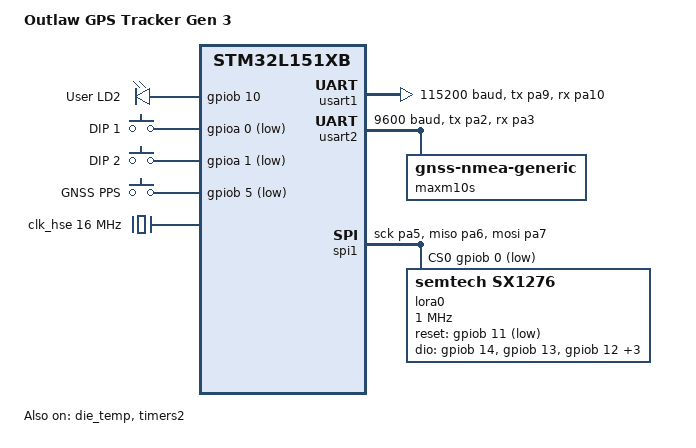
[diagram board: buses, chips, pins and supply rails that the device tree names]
/*
 * Copyright (c) 2024 Aaron Chan
 *
 * SPDX-License-Identifier: Apache-2.0
 */

/dts-v1/;
#include <st/l1/stm32l151Xb-a.dtsi>
#include <st/l1/stm32l151c(6-8-b)uxa-pinctrl.dtsi>
#include <zephyr/dt-bindings/input/input-event-codes.h>

/ {
	model = "Outlaw GPS Tracker Gen 3";
	compatible = "st,stm32l151xb";

	chosen {
		zephyr,console = &usart1;
		zephyr,shell-uart = &usart1;
		zephyr,sram = &sram0;
		zephyr,flash = &flash0;
	};

	leds: leds {
		compatible = "gpio-leds";

		led: led {
			gpios = <&gpiob 10 GPIO_ACTIVE_HIGH>;
			label = "User LD2";
		};
	};

	gpio_keys {
		compatible = "gpio-keys";

		dip1: dip1 {
			label = "DIP 1";
			gpios = <&gpioa 0 GPIO_ACTIVE_LOW>;
			zephyr,code = <INPUT_KEY_0>;
		};

		dip2: dip2 {
			label = "DIP 2";
			gpios = <&gpioa 1 GPIO_ACTIVE_LOW>;
			zephyr,code = <INPUT_KEY_0>;
		};

		pps: pps {
			label = "GNSS PPS";
			gpios = <&gpiob 5 GPIO_ACTIVE_LOW>;
			zephyr,code = <INPUT_KEY_0>;
		};
	};

	aliases {
		dbg-uart = &usart1;
		gnss-uart = &usart2;
		lora = &lora0;
		dip0 = &dip1;
		dip1 = &dip2;
		gnss = &maxm10s;
		led0 = &led;
		watchdog0 = &iwdg;
		die-temp0 = &die_temp;
		pps = &pps;
		tdma-timer = &tdma;
	};

};

&clk_lsi {
	status = "okay";
};

&clk_hsi {
	status = "okay";
};

&clk_hse {
	status = "okay";
	clock-frequency = <DT_FREQ_M(16)>;
};

&pll {
	div = <2>; // 3 for 16 or 8
	mul = <4>; // 3 for 16 or 8
	clocks = <&clk_hsi>;
	status = "okay";
};

&rcc {
	clocks = <&pll>;
	clock-frequency = <DT_FREQ_M(32)>; // TODO: Lower frequency
	ahb-prescaler = <1>; //1 for 16 2 for 8
	apb1-prescaler = <1>;
	apb2-prescaler = <1>;
};

// DEBUG UART
&usart1 {
	pinctrl-0 = <&usart1_tx_pa9 &usart1_rx_pa10>;
	pinctrl-names = "default";
	current-speed = <115200>;
	status = "okay";
};

// GPS UART
&usart2 {
	pinctrl-0 = <&usart2_tx_pa2 &usart2_rx_pa3>;
	pinctrl-names = "default";
	current-speed = <9600>;
	status = "okay";

	maxm10s: ublox-maxm10s {
		status = "okay";
		compatible = "gnss-nmea-generic";
	};
};

&spi1 {
	pinctrl-0 = <&spi1_sck_pa5 &spi1_miso_pa6 &spi1_mosi_pa7>;
	pinctrl-names = "default";
	cs-gpios = <&gpiob 0 (GPIO_ACTIVE_LOW | GPIO_PULL_UP)>;
	status = "okay";

	lora0: lora0@0 {
		compatible = "semtech,sx1276";
		reg = <0>;
		reset-gpios = <&gpiob 11 GPIO_ACTIVE_LOW>;
		dio-gpios = <&gpiob 14 (GPIO_PULL_DOWN | GPIO_ACTIVE_HIGH)>,
					<&gpiob 13 (GPIO_PULL_DOWN | GPIO_ACTIVE_HIGH)>,
					<&gpiob 12 (GPIO_PULL_DOWN | GPIO_ACTIVE_HIGH)>,
					<&gpioa 8 (GPIO_PULL_DOWN | GPIO_ACTIVE_HIGH)>,
					<&gpiob 15 (GPIO_PULL_DOWN | GPIO_ACTIVE_HIGH)>,
					<&gpiob 9 (GPIO_PULL_DOWN | GPIO_ACTIVE_HIGH)>;
		power-amplifier-output = "pa-boost";
		// Note: 10 MHz max, but can't comm properly at that speed unlike Deputy
		spi-max-frequency = <DT_FREQ_M(1)>;
		status = "okay";
	};
};

//&iwdg {
//	status = "okay";
//};

//&rtc {
//	clocks = <&rcc STM32_CLOCK_BUS_APB1 0x10000000>,
//		 <&rcc STM32_SRC_LSI RTC_SEL(2)>;
//	status = "okay";
//};

&die_temp {
	status = "okay";
};

//&dma1 {
//	status = "okay";
//};

&timers2 {
	status = "okay";
	tdma: tdma {
		compatible = "st,stm32-counter";
		status = "okay";
		label = "COUNTER_2";
	};
};

&flash0 {
	partitions {
		compatible = "fixed-partitions";
		#address-cells = <1>;
		#size-cells = <1>;

		/* Set 2KB of storage at the end of 128KB flash */
		storage_partition: partition@1f800 {
			label = "storage";
			reg = <0x0001f800 DT_SIZE_K(2)>;
		};
	};
};

&sram0 {
    reg = <0x20000000 0x8000>;
    status = "okay";
};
